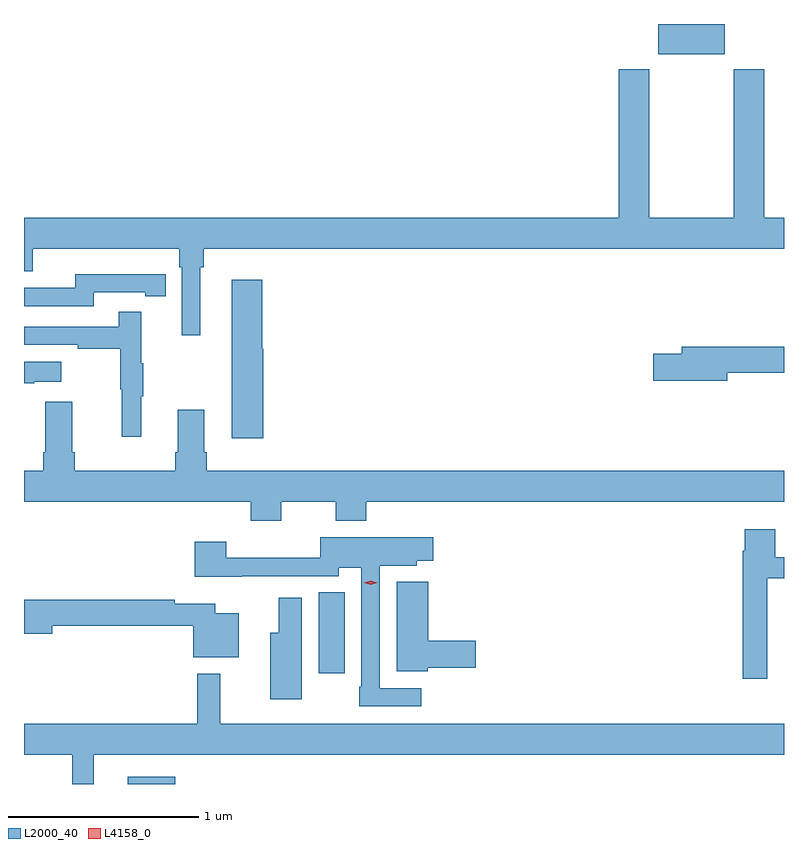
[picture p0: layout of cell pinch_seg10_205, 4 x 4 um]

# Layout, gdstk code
import gdstk
lib = gdstk.Library(unit=1e-6, precision=1e-09)
def R(c, l, rs):  # rectangles x0, y0, x1, y1
    for r in rs: c.add(gdstk.rectangle(r[:2], r[2:], *l))
def P(c, l, *ps):  # polygons
    for p in ps: c.add(gdstk.Polygon(p, *l))
L2000_40 = (2000, 40)
L4158_0 = (4158, 0)

pinch_seg10_205 = lib.new_cell('pinch_seg10_205')
R(pinch_seg10_205, L2000_40, [(814.139,1260.203,814.39,1260.241), (815.144,1260.786,815.281,1261.211), (816.932,1264.043,817.282,1264.203)])
P(pinch_seg10_205, L2000_40, [(814.522,1262.924),(814.541,1262.924),(814.541,1263.02),(817.594,1263.02),(817.594,1263.184),(817.49,1263.184),(817.49,1263.964),(817.33,1263.964),(817.33,1263.184),(816.885,1263.184),(816.885,1263.964),(816.725,1263.964),(816.725,1263.184),(813.594,1263.184),(813.594,1262.903),(813.64,1262.903),(813.64,1263.02),(814.412,1263.02),(814.412,1262.924),(814.425,1262.924),(814.425,1262.565),(814.522,1262.565)],
  [(813.96,1262.79),(814.232,1262.79),(814.232,1262.77),(814.34,1262.77),(814.34,1262.886),(814.232,1262.886),(814.232,1262.887),(813.864,1262.887),(813.864,1262.814),(813.594,1262.814),(813.594,1262.718),(813.96,1262.718)],
  [(814.852,1262.493),(814.847,1262.493),(814.847,1262.857),(814.688,1262.857),(814.688,1262.022),(814.852,1262.022)],
  [(814.211,1262.243),(814.222,1262.243),(814.222,1262.417),(814.211,1262.417),(814.211,1262.689),(814.093,1262.689),(814.093,1262.61),(813.594,1262.61),(813.594,1262.514),(813.877,1262.514),(813.877,1262.494),(814.101,1262.494),(814.101,1262.28),(814.108,1262.28),(814.108,1262.031),(814.211,1262.031)],
  [(817.294,1262.368),(817.594,1262.368),(817.594,1262.504),(817.055,1262.504),(817.055,1262.468),(816.906,1262.468),(816.906,1262.326),(817.294,1262.326)],
  [(813.647,1262.321),(813.79,1262.321),(813.79,1262.425),(813.594,1262.425),(813.594,1262.311),(813.647,1262.311)],
  [(814.947,1261.688),(815.236,1261.688),(815.236,1261.589),(815.396,1261.589),(815.396,1261.688),(817.594,1261.688),(817.594,1261.852),(814.556,1261.852),(814.556,1261.948),(814.543,1261.948),(814.543,1262.173),(814.403,1262.173),(814.403,1261.948),(814.391,1261.948),(814.391,1261.852),(813.86,1261.852),(813.86,1261.948),(813.847,1261.948),(813.847,1262.215),(813.707,1262.215),(813.707,1261.948),(813.695,1261.948),(813.695,1261.852),(813.594,1261.852),(813.594,1261.688),(814.787,1261.688),(814.787,1261.589),(814.947,1261.589)],
  [(817.507,1261.287),(817.594,1261.287),(817.594,1261.396),(817.549,1261.396),(817.549,1261.543),(817.388,1261.543),(817.388,1261.43),(817.376,1261.43),(817.376,1260.756),(817.507,1260.756)],
  [(815.686,1260.708),(815.466,1260.708),(815.466,1261.352),(815.661,1261.352),(815.661,1261.379),(815.749,1261.379),(815.749,1261.501),(815.154,1261.501),(815.154,1261.394),(814.658,1261.394),(814.658,1261.477),(814.493,1261.477),(814.493,1261.295),(814.741,1261.295),(814.741,1261.296),(815.25,1261.296),(815.25,1261.34),(815.37,1261.34),(815.37,1260.715),(815.358,1260.715),(815.358,1260.612),(815.686,1260.612)],
  [(815.718,1260.814),(815.971,1260.814),(815.971,1260.956),(815.722,1260.956),(815.722,1261.267),(815.555,1261.267),(815.555,1260.797),(815.718,1260.797)],
  [(815.056,1261.183),(814.934,1261.183),(814.934,1261),(814.889,1261),(814.889,1260.648),(815.056,1260.648)],
  [(814.723,1261.102),(814.6,1261.102),(814.6,1261.153),(814.388,1261.153),(814.388,1261.172),(813.594,1261.172),(813.594,1260.994),(813.742,1260.994),(813.742,1261.036),(814.484,1261.036),(814.484,1260.869),(814.723,1260.869)],
  [(813.961,1260.356),(817.594,1260.356),(817.594,1260.52),(814.628,1260.52),(814.628,1260.784),(814.507,1260.784),(814.507,1260.52),(813.594,1260.52),(813.594,1260.356),(813.847,1260.356),(813.847,1260.203),(813.961,1260.203)])
P(pinch_seg10_205, L4158_0, [(815.418,1261.253),(815.383,1261.263),(815.383,1261.263),(815.383,1261.263),(815.418,1261.273),(815.452,1261.263),(815.452,1261.263),(815.452,1261.263)])

lib.write_gds('pinch_seg10_205.gds')
